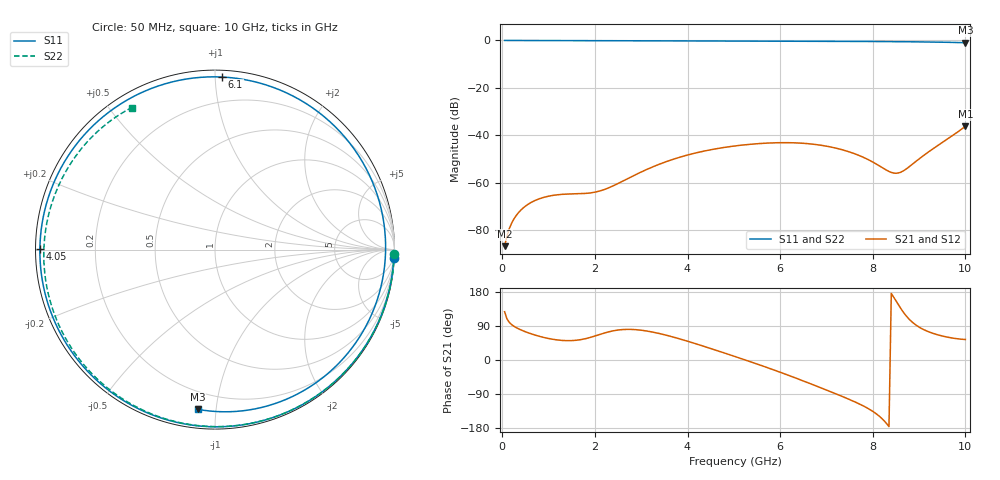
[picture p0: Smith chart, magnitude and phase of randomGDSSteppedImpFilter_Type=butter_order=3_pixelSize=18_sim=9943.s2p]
! freq	dB(S11)	phase(S11)	dB(S12)	phase(S12)
!  dB(S21)	phase(S21)	dB(S22)	phase(S22)
!S-par simulation data
#  GHz  S  DB  R 50
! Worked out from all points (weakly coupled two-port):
!   200 points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, 50 MHz to 10 GHz, reference 50 ohm
!   highest |S21| = -36.14 dB at 10 GHz (marker M1); lowest = -86.7 dB at 50 MHz (marker M2)
!   lowest |S11| = -1.0 dB at 10 GHz (marker M3), VSWR 18.06, Z = 4.99 - j44.7 ohm
!   |S11| at or under -10 dB: nowhere
!   |S22| runs from -0.8 to 0.0 dB; largest |S21 - S12| = 0
!   S11 on the Smith chart (normalised r, x): 50 MHz: 2, -45; 4.05 GHz: 0.01, +0.00; 6.1 GHz: 0.04, +1.04; 10 GHz: 0.10, -0.89
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0.05  -0.02 -2.6  -86.66 127.3  -86.66 127.3  -0.01 -1.3
0.15  -0.03 -7.4  -79.34 99.5  -79.34 99.5  -0.01 -3.8
0.25  -0.03 -12.3  -75.24 89.1  -75.24 89.1  -0.02 -6.3
0.4  -0.04 -19.6  -71.49 79.5  -71.49 79.5  -0.02 -10.1
0.7  -0.05 -34.2  -67.49 66.1  -67.49 66.1  -0.02 -17.6
1.25  -0.07 -60.2  -64.90 52.1  -64.90 52.1  -0.04 -31.2
1.75  -0.10 -83.0  -64.50 55.0  -64.50 55.0  -0.06 -43.4
2.5  -0.14 -115.7  -60.26 79.1  -60.26 79.1  -0.08 -61.2
3.4  -0.18 -153.3  -52.08 69.6  -52.08 69.6  -0.11 -81.7
4.05  -0.21 179.7  -48.01 47.7  -48.01 47.7  -0.13 -96.1
4.55  -0.24 158.5  -45.87 28.3  -45.87 28.3  -0.15 -106.9
5.05  -0.27 136.6  -44.39 8.2  -44.39 8.2  -0.18 -117.6
5.6  -0.31 111.4  -43.38 -14.8  -43.38 -14.8  -0.21 -129.3
6.1  -0.33 87.6  -43.06 -36.8  -43.06 -36.8  -0.25 -140.0
6.7  -0.36 58.1  -43.68 -64.8  -43.68 -64.8  -0.30 -153.0
7.15  -0.39 35.8  -45.13 -86.6  -45.13 -86.6  -0.34 -162.9
7.55  -0.41 16.0  -47.32 -107.0  -47.32 -107.0  -0.38 -172.0
7.95  -0.45 -3.3  -50.70 -131.7  -50.70 -131.7  -0.42 178.5
8.35  -0.50 -22.1  -55.18 -175.8  -55.18 -175.8  -0.47 168.6
8.65  -0.54 -35.8  -55.06 127.9  -55.06 127.9  -0.51 160.9
9.2  -0.66 -60.4  -47.01 74.8  -47.01 74.8  -0.59 145.7
10  -0.96 -96.1  -36.14 54.1  -36.14 54.1  -0.75 120.4
